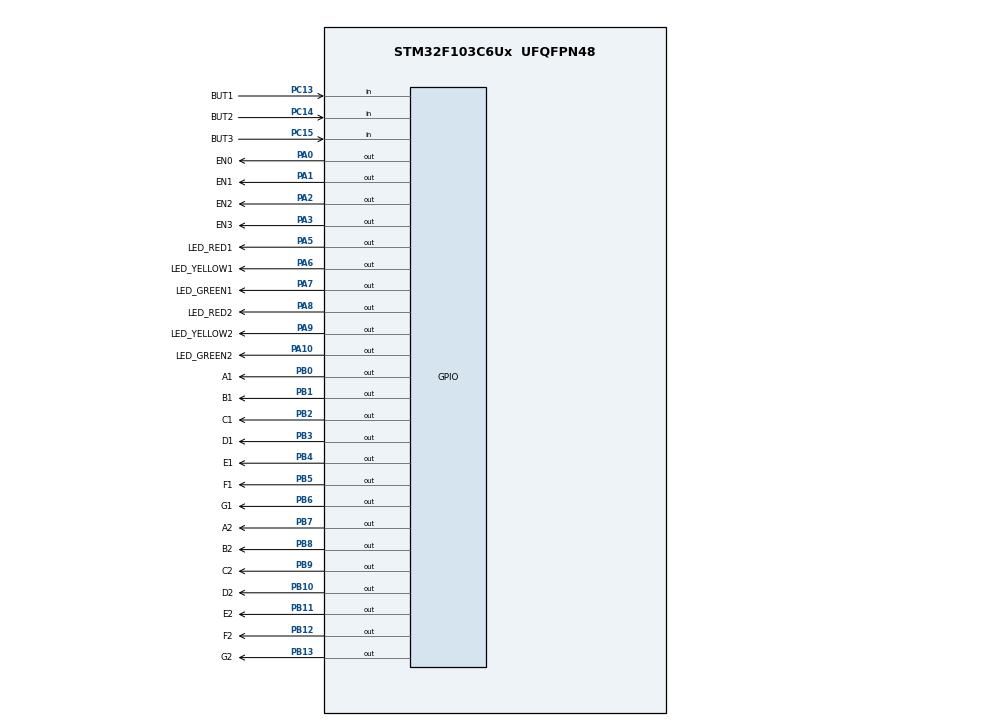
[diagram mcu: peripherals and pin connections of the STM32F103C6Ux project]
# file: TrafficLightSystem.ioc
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Mcu.Family=STM32F1
Mcu.Name=STM32F103C6Ux
Mcu.Package=UFQFPN48
NVIC.PriorityGroup=NVIC_PRIORITYGROUP_4
NVIC.TIM2_IRQn=true\:0\:0\:false\:false\:true\:true\:true
PA0-WKUP.GPIO_Label=EN0
PA0-WKUP.Signal=GPIO_Output
PA1.GPIO_Label=EN1
PA1.Signal=GPIO_Output
PA10.GPIO_Label=LED_GREEN2
PA10.Signal=GPIO_Output
PA2.GPIO_Label=EN2
PA2.Signal=GPIO_Output
PA3.GPIO_Label=EN3
PA3.Signal=GPIO_Output
PA5.GPIO_Label=LED_RED1
PA5.Signal=GPIO_Output
PA6.GPIO_Label=LED_YELLOW1
PA6.Signal=GPIO_Output
PA7.GPIO_Label=LED_GREEN1
PA7.Signal=GPIO_Output
PA8.GPIO_Label=LED_RED2
PA8.Signal=GPIO_Output
PA9.GPIO_Label=LED_YELLOW2
PA9.Signal=GPIO_Output
PB0.GPIO_Label=A1
PB0.Signal=GPIO_Output
PB1.GPIO_Label=B1
PB1.Signal=GPIO_Output
PB10.GPIO_Label=D2
PB10.Signal=GPIO_Output
PB11.GPIO_Label=E2
PB11.Signal=GPIO_Output
PB12.GPIO_Label=F2
PB12.Signal=GPIO_Output
PB13.GPIO_Label=G2
PB13.Signal=GPIO_Output
PB2.GPIO_Label=C1
PB2.Signal=GPIO_Output
PB3.GPIO_Label=D1
PB3.Signal=GPIO_Output
PB4.GPIO_Label=E1
PB4.Signal=GPIO_Output
PB5.GPIO_Label=F1
PB5.Signal=GPIO_Output
PB6.GPIO_Label=G1
PB6.Signal=GPIO_Output
PB7.GPIO_Label=A2
PB7.Signal=GPIO_Output
PB8.GPIO_Label=B2
PB8.Signal=GPIO_Output
PB9.GPIO_Label=C2
PB9.Signal=GPIO_Output
PC13-TAMPER-RTC.GPIO_Label=BUT1
PC13-TAMPER-RTC.GPIO_PuPd=GPIO_PULLUP
PC13-TAMPER-RTC.Signal=GPIO_Input
PC14-OSC32_IN.GPIO_Label=BUT2
PC14-OSC32_IN.GPIO_PuPd=GPIO_PULLUP
PC14-OSC32_IN.Signal=GPIO_Input
PC15-OSC32_OUT.GPIO_Label=BUT3
PC15-OSC32_OUT.GPIO_PuPd=GPIO_PULLUP
PC15-OSC32_OUT.Signal=GPIO_Input
ProjectManager.HeapSize=0x200
ProjectManager.StackSize=0x400
ProjectManager.TargetToolchain=STM32CubeIDE
RCC.APB1Freq_Value=8000000
RCC.APB2Freq_Value=8000000
TIM2.Period=10
TIM2.Prescaler=7999
VP_SYS_VS_ND.Mode=No_Debug
VP_TIM2_VS_ClockSourceINT.Mode=Internal
board=custom

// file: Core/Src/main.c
/* USER CODE BEGIN Header */
/**
  ******************************************************************************
  * @file           : main.c
  * @brief          : Main program body
  ******************************************************************************
  * @attention
  *
  * <h2><center>&copy; Copyright (c) 2022 STMicroelectronics.
  * All rights reserved.</center></h2>
  *
  * This software component is licensed by ST under BSD 3-Clause license,
  * the "License"; You may not use this file except in compliance with the
  * License. You may obtain a copy of the License at:
  *                        opensource.org/licenses/BSD-3-Clause
  *
  ******************************************************************************
  */
/* USER CODE END Header */
#include "main.h"

/* USER CODE BEGIN Includes */
#include "button.h"
#include "fsm_autolight1.h"
#include "fsm_automatic.h"
#include "software_timer.h"
#include "led7seg.h"
#include "led_color.h"
/* USER CODE END Includes */

TIM_HandleTypeDef htim2;

void SystemClock_Config(void);
static void MX_GPIO_Init(void);
static void MX_TIM2_Init(void);

int main(void)
{

  /* MCU Configuration--------------------------------------------------------*/

  /* Reset of all peripherals, Initializes the Flash interface and the Systick. */
  HAL_Init();

  /* Configure the system clock */
  SystemClock_Config();

  /* Initialize all configured peripherals */
  MX_GPIO_Init();
  MX_TIM2_Init();
  /* USER CODE BEGIN 2 */
  HAL_TIM_Base_Start_IT(&htim2);
  /* USER CODE END 2 */

  /* Infinite loop */
  /* USER CODE BEGIN WHILE */
  setTimer4(500);
  setTimer5(500);
  status_0 = INIT;
  while (1)
  {
	  fsm_autolight1_run();
	  fsm_autolight2_run();
	  fsm_automatic_run();
	  if(timer4_flag == 1){
		  update7SEG(index_led++);
		  if(index_led > 1){
			  index_led = 0;
		  }
		  setTimer4(500);
	  }
    /* USER CODE END WHILE */

  }
}

void SystemClock_Config(void)
{
  RCC_OscInitTypeDef RCC_OscInitStruct = {0};
  RCC_ClkInitTypeDef RCC_ClkInitStruct = {0};

  /** Initializes the RCC Oscillators according to the specified parameters
  * in the RCC_OscInitTypeDef structure.
  */
  RCC_OscInitStruct.OscillatorType = RCC_OSCILLATORTYPE_HSI;
  RCC_OscInitStruct.HSIState = RCC_HSI_ON;
  RCC_OscInitStruct.HSICalibrationValue = RCC_HSICALIBRATION_DEFAULT;
  RCC_OscInitStruct.PLL.PLLState = RCC_PLL_NONE;
  if (HAL_RCC_OscConfig(&RCC_OscInitStruct) != HAL_OK)
  {
    Error_Handler();
  }
  /** Initializes the CPU, AHB and APB buses clocks
  */
  RCC_ClkInitStruct.ClockType = RCC_CLOCKTYPE_HCLK|RCC_CLOCKTYPE_SYSCLK
                              |RCC_CLOCKTYPE_PCLK1|RCC_CLOCKTYPE_PCLK2;
  RCC_ClkInitStruct.SYSCLKSource = RCC_SYSCLKSOURCE_HSI;
  RCC_ClkInitStruct.AHBCLKDivider = RCC_SYSCLK_DIV1;
  RCC_ClkInitStruct.APB1CLKDivider = RCC_HCLK_DIV1;
  RCC_ClkInitStruct.APB2CLKDivider = RCC_HCLK_DIV1;

  if (HAL_RCC_ClockConfig(&RCC_ClkInitStruct, FLASH_LATENCY_0) != HAL_OK)
  {
    Error_Handler();
  }
}

static void MX_TIM2_Init(void)
{

  TIM_ClockConfigTypeDef sClockSourceConfig = {0};
  TIM_MasterConfigTypeDef sMasterConfig = {0};

  htim2.Instance = TIM2;
  htim2.Init.Prescaler = 7999;
  htim2.Init.CounterMode = TIM_COUNTERMODE_UP;
  htim2.Init.Period = 10;
  htim2.Init.ClockDivision = TIM_CLOCKDIVISION_DIV1;
  htim2.Init.AutoReloadPreload = TIM_AUTORELOAD_PRELOAD_DISABLE;
  if (HAL_TIM_Base_Init(&htim2) != HAL_OK)
  {
    Error_Handler();
  }
  sClockSourceConfig.ClockSource = TIM_CLOCKSOURCE_INTERNAL;
  if (HAL_TIM_ConfigClockSource(&htim2, &sClockSourceConfig) != HAL_OK)
  {
    Error_Handler();
  }
  sMasterConfig.MasterOutputTrigger = TIM_TRGO_RESET;
  sMasterConfig.MasterSlaveMode = TIM_MASTERSLAVEMODE_DISABLE;
  if (HAL_TIMEx_MasterConfigSynchronization(&htim2, &sMasterConfig) != HAL_OK)
  {
    Error_Handler();
  }

}

static void MX_GPIO_Init(void)
{
  GPIO_InitTypeDef GPIO_InitStruct = {0};

  /* GPIO Ports Clock Enable */
  __HAL_RCC_GPIOC_CLK_ENABLE();
  __HAL_RCC_GPIOA_CLK_ENABLE();
  __HAL_RCC_GPIOB_CLK_ENABLE();

  /*Configure GPIO pin Output Level */
  HAL_GPIO_WritePin(GPIOA, EN0_Pin|EN1_Pin|EN2_Pin|EN3_Pin
                          |LED_RED1_Pin|LED_YELLOW1_Pin|LED_GREEN1_Pin|LED_RED2_Pin
                          |LED_YELLOW2_Pin|LED_GREEN2_Pin, GPIO_PIN_RESET);

  /*Configure GPIO pin Output Level */
  HAL_GPIO_WritePin(GPIOB, A1_Pin|B1_Pin|C1_Pin|D2_Pin
                          |E2_Pin|F2_Pin|G2_Pin|D1_Pin
                          |E1_Pin|F1_Pin|G1_Pin|A2_Pin
                          |B2_Pin|C2_Pin, GPIO_PIN_RESET);

  /*Configure GPIO pins : BUT1_Pin BUT2_Pin BUT3_Pin */
  GPIO_InitStruct.Pin = BUT1_Pin|BUT2_Pin|BUT3_Pin;
  GPIO_InitStruct.Mode = GPIO_MODE_INPUT;
  GPIO_InitStruct.Pull = GPIO_PULLUP;
  HAL_GPIO_Init(GPIOC, &GPIO_InitStruct);

  /*Configure GPIO pins : EN0_Pin EN1_Pin EN2_Pin EN3_Pin
                           LED_RED1_Pin LED_YELLOW1_Pin LED_GREEN1_Pin LED_RED2_Pin
                           LED_YELLOW2_Pin LED_GREEN2_Pin */
  GPIO_InitStruct.Pin = EN0_Pin|EN1_Pin|EN2_Pin|EN3_Pin
                          |LED_RED1_Pin|LED_YELLOW1_Pin|LED_GREEN1_Pin|LED_RED2_Pin
                          |LED_YELLOW2_Pin|LED_GREEN2_Pin;
  GPIO_InitStruct.Mode = GPIO_MODE_OUTPUT_PP;
  GPIO_InitStruct.Pull = GPIO_NOPULL;
  GPIO_InitStruct.Speed = GPIO_SPEED_FREQ_LOW;
  HAL_GPIO_Init(GPIOA, &GPIO_InitStruct);

  /*Configure GPIO pins : A1_Pin B1_Pin C1_Pin D2_Pin
                           E2_Pin F2_Pin G2_Pin D1_Pin
                           E1_Pin F1_Pin G1_Pin A2_Pin
                           B2_Pin C2_Pin */
  GPIO_InitStruct.Pin = A1_Pin|B1_Pin|C1_Pin|D2_Pin
                          |E2_Pin|F2_Pin|G2_Pin|D1_Pin
                          |E1_Pin|F1_Pin|G1_Pin|A2_Pin
                          |B2_Pin|C2_Pin;
  GPIO_InitStruct.Mode = GPIO_MODE_OUTPUT_PP;
  GPIO_InitStruct.Pull = GPIO_NOPULL;
  GPIO_InitStruct.Speed = GPIO_SPEED_FREQ_LOW;
  HAL_GPIO_Init(GPIOB, &GPIO_InitStruct);

}

/* USER CODE BEGIN 4 */
void HAL_TIM_PeriodElapsedCallback(TIM_HandleTypeDef *htim){
	timerRun();
	getKeyInput();
}
/* USER CODE END 4 */

void Error_Handler(void)
{
  __disable_irq();
  while (1)
  {
  }
}

/************************ (C) COPYRIGHT STMicroelectronics *****END OF FILE****/
